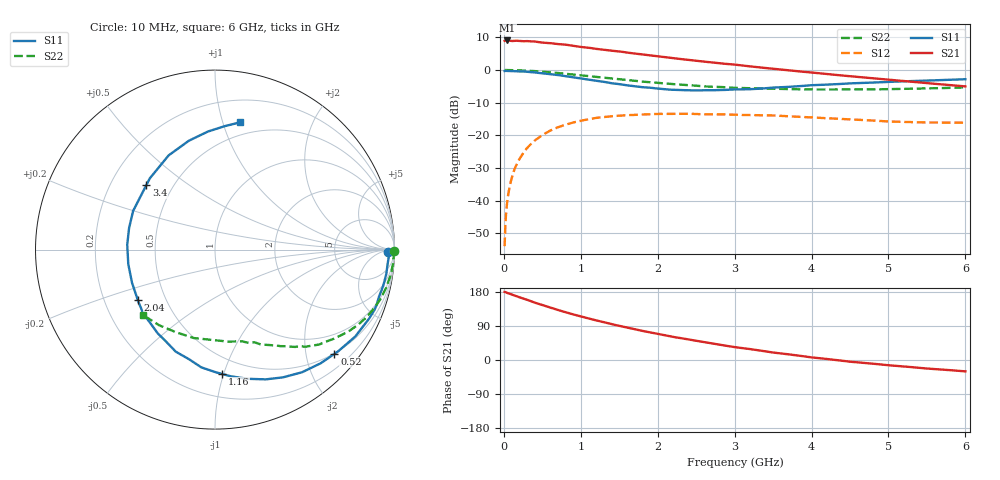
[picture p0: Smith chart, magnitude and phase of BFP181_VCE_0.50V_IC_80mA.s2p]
! Infineon Technologies  Discrete & RF Semiconductors
! BFP181
! VCE = 0.50V,  IC =  80 mA
! Common Emitter S-Parameters:  Jan 2016
# GHz  S  MA  R  50
!  f  S11  S21  S12  S22
! GHz  MAG  ANG  MAG  ANG  MAG  ANG  MAG  ANG
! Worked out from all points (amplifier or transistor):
!   210 points, 10 MHz to 6 GHz, reference 50 ohm
!   highest |S21| = 9.1 dB at 45 MHz (marker M1)
!   |S21| within 3 dB of that: start of sweep to 1.35 GHz
!   unconditionally stable (mu >= 1): 2.864 GHz to end of sweep
!   at 185 MHz: K = 0.08, MSG = 18.5 dB, |S12| = -28.0 dB
!   at 1.52 GHz: K = 0.57, MSG = 9.8 dB, |S12| = -14.0 dB
!   at 6 GHz: K = 1.59, MAG = 1.1 dB, |S12| = -16.1 dB
!   S11 on the Smith chart (normalised r, x): 10 MHz: 48, -22; 520 MHz: 0.49, -2.59; 1.16 GHz: 0.37, -0.99; 2.04 GHz: 0.35, -0.26; 3.4 GHz: 0.35, +0.35; 6 GHz: 0.38, +1.14
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0.01  0.966 -0.9  2.798 179.7  0.002 81.2  0.9982 -0.4
0.015  0.9683 -1.3  2.817 179.5  0.0031 86.6  0.9991 -0.7
0.025  0.9697 -2.0  2.836 178.8  0.0054 88.9  0.9993 -1.1
0.045  0.9667 -3.5  2.836 177.0  0.0098 88.6  0.9965 -2.0
0.105  0.9633 -8.5  2.781 172.7  0.0227 84.2  0.9951 -4.4
0.19  0.9519 -15.2  2.797 166.5  0.0406 79.4  0.9888 -8.1
0.3  0.9405 -24.2  2.774 159.2  0.0634 73.3  0.9772 -12.6
0.4  0.9193 -31.8  2.734 151.5  0.0827 68.0  0.9621 -16.7
0.52  0.8835 -41.1  2.62 143.5  0.1037 61.8  0.9393 -21.2
0.8  0.8066 -61.9  2.446 126.2  0.145 48.6  0.8768 -30.9
1.02  0.7356 -77.2  2.242 114.0  0.1686 39.4  0.8236 -37.3
1.16  0.6942 -86.7  2.142 106.6  0.181 34.0  0.7933 -41.1
1.52  0.6035 -112.2  1.912 89.1  0.1999 22.8  0.7149 -49.0
1.8  0.5458 -131.1  1.73 76.9  0.2084 15.8  0.6651 -54.0
2.02  0.5165 -145.7  1.61 68.2  0.2124 10.8  0.6335 -57.6
2.04  0.5132 -147.1  1.598 67.4  0.2124 10.4  0.6305 -57.9
2.48  0.487 -175.6  1.395 51.5  0.2122 1.4  0.5766 -65.3
3.1  0.5049 150.1  1.172 31.5  0.205 -7.8  0.5291 -75.2
3.4  0.5252 136.7  1.074 22.9  0.202 -11.0  0.5199 -80.2
4.1  0.5904 113.5  0.891 4.9  0.1858 -17.7  0.5025 -94.5
5.1  0.6642 91.8  0.692 -15.4  0.1615 -21.1  0.5103 -117.3
6  0.7223 78.9  0.561 -30.0  0.156 -18.1  0.5422 -137.9
